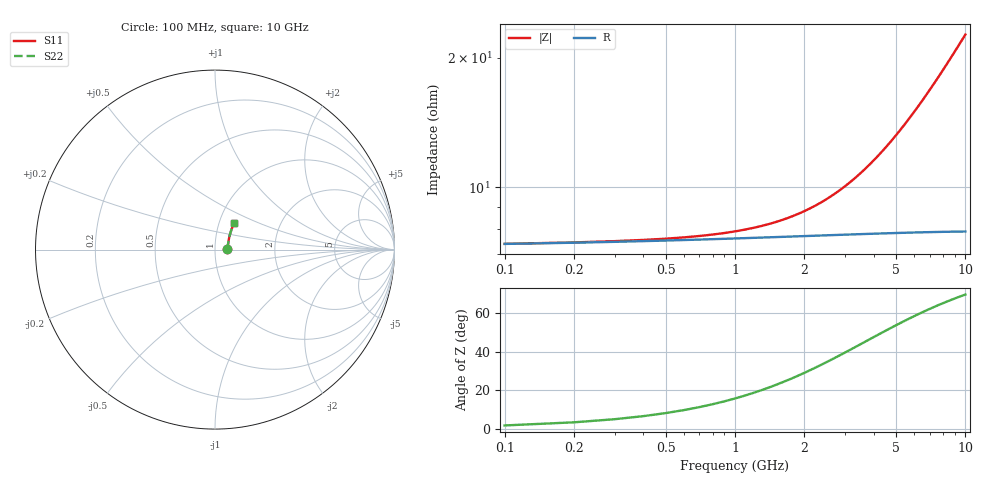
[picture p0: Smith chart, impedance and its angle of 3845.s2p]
# Hz S RI R 50.00
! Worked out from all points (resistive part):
!   100 points, 100 MHz to 10 GHz, reference 50 ohm
!   read as one part in series: R = 7.38 ohm at 100 MHz
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1e8  0.0687 0.00157  0.9313 -0.00212  0.9313 -0.00212  0.0687 0.00157
2e8  0.0691 0.00315  0.9309 -0.00423  0.9309 -0.00423  0.0691 0.00315
7e8  0.0704 0.011  0.9296 -0.0148  0.9296 -0.0148  0.0704 0.011
1e9  0.071 0.0157  0.929 -0.0211  0.929 -0.0211  0.071 0.0157
1.2e9  0.0713 0.0188  0.9286 -0.0253  0.9286 -0.0253  0.0713 0.0188
1.4e9  0.0717 0.0219  0.9282 -0.0295  0.9282 -0.0295  0.0717 0.0219
1.8e9  0.0725 0.0281  0.9275 -0.0379  0.9275 -0.0379  0.0725 0.0281
2.1e9  0.0731 0.0328  0.9268 -0.0442  0.9268 -0.0442  0.0731 0.0328
2.5e9  0.074 0.039  0.9259 -0.0525  0.9259 -0.0525  0.074 0.039
2.9e9  0.0749 0.0451  0.9249 -0.0609  0.9249 -0.0609  0.0749 0.0451
3.4e9  0.0763 0.0528  0.9235 -0.0713  0.9235 -0.0713  0.0763 0.0528
4.5e9  0.0797 0.0696  0.92 -0.094  0.92 -0.094  0.0797 0.0696
5.1e9  0.0819 0.0786  0.9177 -0.1063  0.9177 -0.1063  0.0819 0.0786
5.9e9  0.0851 0.0906  0.9143 -0.1226  0.9143 -0.1226  0.0851 0.0906
6.3e9  0.0869 0.0965  0.9125 -0.1307  0.9125 -0.1307  0.0869 0.0965
6.7e9  0.0888 0.1023  0.9105 -0.1388  0.9105 -0.1388  0.0888 0.1023
7.1e9  0.0908 0.1082  0.9084 -0.1468  0.9084 -0.1468  0.0908 0.1082
7.5e9  0.0928 0.114  0.9063 -0.1547  0.9063 -0.1547  0.0928 0.114
7.9e9  0.095 0.1197  0.904 -0.1627  0.904 -0.1627  0.095 0.1197
8.4e9  0.0978 0.1268  0.901 -0.1725  0.901 -0.1725  0.0978 0.1268
9.2e9  0.1027 0.138  0.896 -0.1881  0.896 -0.1881  0.1027 0.138
1e10  0.1079 0.149  0.8905 -0.2034  0.8905 -0.2034  0.1079 0.149
